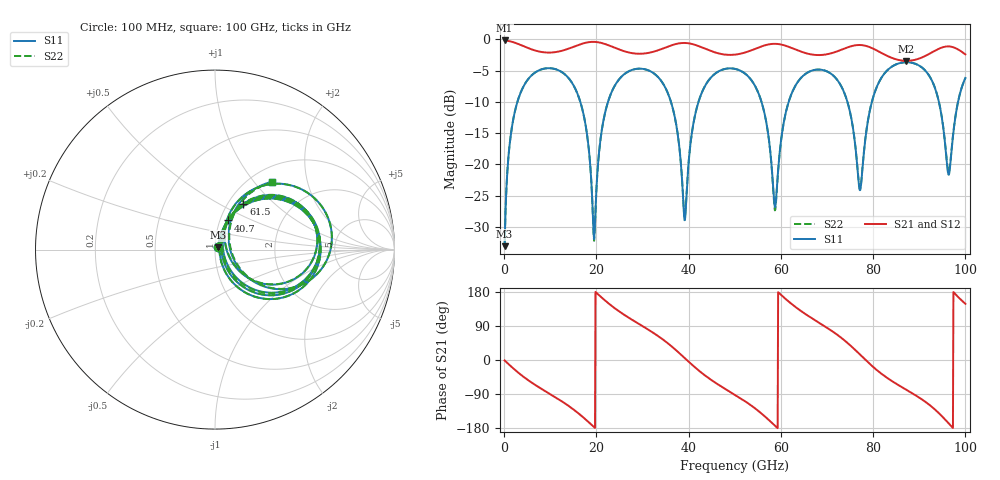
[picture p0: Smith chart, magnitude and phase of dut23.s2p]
! Touchstone file exported from HFSS 2026.1.0
!  File:  C:/ffzhzh/LocalFiles/Ansys_Project_Files/temp_train_TSV_RDL_23_1783615341_26216.aedt
!  Generated:  12:49:24 AM Jul 10, 2026
!  Design:  TSV_RDL
!  Project:  temp_train_TSV_RDL_23_1783615341_26216
! Variables:
!  h_bsmrdl = 3.24um
!  h_ox = 20um
!  h_rdl = 5um
!  h_sub = 68.05um
!  h_tmrdl = 3.5um
!  h_tsv = 68.05um
!  h_via = 3um
!  l_bsmrdl = 258.91um
!  l_sub = 3075.81um
!  l_tmrdl = 451.58um
!  m_sub = 200um
!  pitch = 49.79um
!  r_tsv = 8.83um
!  s_tmrdl = 10um
!  w_bsmrdl = 12.37um
!  w_sub = 500um
!  w_tmrdl = 18.55um
!  x_tsv_center1 = 460.855um
!  x_tsv_center2 = 732.135um
!  x_tsv_center3 = 1202.265um
!  x_tsv_center4 = 1473.545um
!  x_tsv_center5 = 1943.675um
!  x_tsv_center6 = 2214.955um
# GHz S MA R 50.000000
! Terminal data exported
! Port[1] = TM_RDL1_1_T1
! Port[2] = TM_RDL5_1_T1
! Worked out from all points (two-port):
!   1000 points, 100 MHz to 100 GHz, reference 50 ohm
!   highest |S21| = -0.16 dB at 100 MHz (marker M1); lowest = -3.4 dB at 87.2 GHz (marker M2)
!   |S21| within 3 dB of the highest: start of sweep to 84.87 GHz; 89.57 GHz to end of sweep
!   lowest |S11| = -33.1 dB at 100 MHz (marker M3), VSWR 1.05, Z = 51.8 + j1.3 ohm
!   |S11| at or under -10 dB: 16.51 GHz to 22.51 GHz (6.001 GHz wide, 30.8 % of centre); 36.17 GHz to 42.13 GHz (5.966 GHz wide, 15.2 % of centre); 55.8 GHz to 61.68 GHz (5.886 GHz wide, 10 % of centre) (the widest 3 of 6)
!   |S22| runs from -33.1 to -3.6 dB; largest |S21 - S12| = 1.8e-14
!   S11 on the Smith chart (normalised r, x): 100 MHz: 1.04, +0.03; 40.7 GHz: 1.09, +0.37; 61.5 GHz: 1.18, +0.66; 100 GHz: 1.24, +1.23
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0.1  0.02209 34.5  0.982 -1.2  0.982 -1.2  0.02209 34.5
! Gamma 0 0 0 0
! Port Impedance 50 0 50 0
1.7  0.2003 64.5  0.9579 -19.2  0.9579 -19.2  0.2003 64.5
4.7  0.4529 38.2  0.8681 -48.9  0.8681 -48.9  0.453 38.2
10.6  0.5846 -5.8  0.7879 -94.6  0.7879 -94.6  0.5847 -5.8
16.8  0.2904 -54.9  0.9221 -147.8  0.9221 -147.8  0.2904 -55.1
19.5  0.02517 2.3  0.9569 -177.1  0.9569 -177.1  0.0244 2.1
23.5  0.3938 47.0  0.8726 141.1  0.8726 141.1  0.3937 47.2
33.4  0.4984 -25.9  0.8199 63.0  0.8199 63.0  0.4983 -25.8
39.1  0.03566 -4.2  0.9378 5.6  0.9378 5.6  0.03746 -3.7
40.7  0.1779 66.0  0.9208 -12.1  0.9208 -12.1  0.1784 65.4
50.1  0.581 -2.3  0.7565 -92.3  0.7565 -92.3  0.581 -2.5
55.7  0.3247 -44.3  0.8772 -140.3  0.8772 -140.3  0.3244 -44.8
58.7  0.04537 2.0  0.9232 -173.1  0.9232 -173.1  0.04276 1.7
61.5  0.3001 58.1  0.8784 156.1  0.8784 156.1  0.2998 58.6
66.7  0.5629 19.0  0.7578 110.4  0.7578 110.4  0.5628 19.2
73.6  0.3852 -30.4  0.8407 53.6  0.8407 53.6  0.3853 -30.1
77.1  0.06203 8.2  0.903 14.9  0.903 14.9  0.06382 8.5
83.4  0.5808 36.1  0.7289 -50.2  0.7289 -50.2  0.581 36.0
87.2  0.6573 10.8  0.674 -78.6  0.674 -78.6  0.6574 10.8
93.1  0.437 -30.3  0.8012 -127.4  0.8012 -127.4  0.4374 -30.0
96.4  0.0824 13.9  0.8798 -167.5  0.8798 -167.5  0.08685 13.7
100  0.4916 50.2  0.7596 148.3  0.7596 148.3  0.4925 49.5
